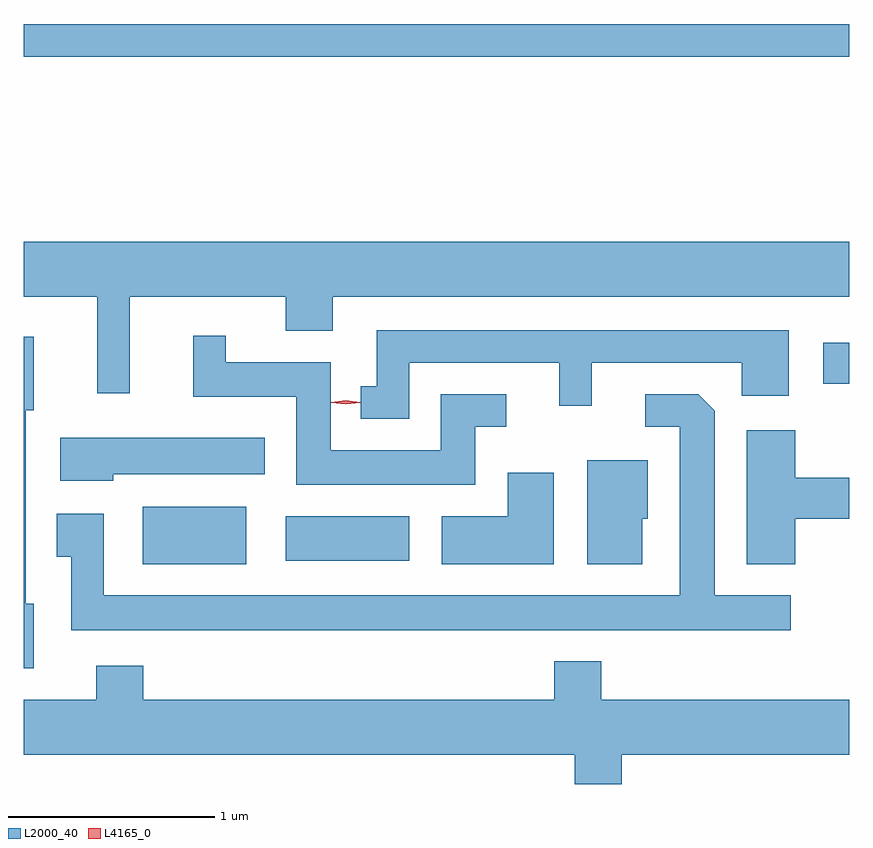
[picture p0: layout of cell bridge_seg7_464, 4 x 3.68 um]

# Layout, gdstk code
import gdstk
lib = gdstk.Library(unit=1e-6, precision=1e-09)
def R(c, l, rs):  # rectangles x0, y0, x1, y1
    for r in rs: c.add(gdstk.rectangle(r[:2], r[2:], *l))
def P(c, l, *ps):  # polygons
    for p in ps: c.add(gdstk.Polygon(p, *l))
L2000_40 = (2000, 40)
L4165_0 = (4165, 0)

bridge_seg7_464 = lib.new_cell('bridge_seg7_464')
R(bridge_seg7_464, L2000_40, [(1441.106,1708.581,1441.609,1708.859), (1441.801,1708.596,1442.399,1708.814), (1444.406,1709.456,1444.531,1709.654), (1440.531,1711.041,1444.531,1711.199)])
P(bridge_seg7_464, L2000_40, [(1441.044,1709.876),(1441.801,1709.876),(1441.801,1709.711),(1442.029,1709.711),(1442.029,1709.876),(1444.531,1709.876),(1444.531,1710.144),(1440.531,1710.144),(1440.531,1709.876),(1440.886,1709.876),(1440.886,1709.408),(1441.044,1709.408)],
  [(1442.399,1709.556),(1443.126,1709.556),(1443.126,1709.348),(1443.284,1709.348),(1443.284,1709.556),(1444.011,1709.556),(1444.011,1709.396),(1444.239,1709.396),(1444.239,1709.714),(1442.241,1709.714),(1442.241,1709.444),(1442.163,1709.444),(1442.163,1709.286),(1442.399,1709.286)],
  [(1442.719,1709.246),(1442.868,1709.246),(1442.868,1709.404),(1442.551,1709.404),(1442.551,1709.134),(1442.019,1709.134),(1442.019,1709.559),(1441.509,1709.559),(1441.509,1709.688),(1441.351,1709.688),(1441.351,1709.391),(1441.851,1709.391),(1441.851,1708.966),(1442.719,1708.966)],
  [(1440.579,1708.389),(1440.539,1708.389),(1440.539,1709.326),(1440.579,1709.326),(1440.579,1709.684),(1440.531,1709.684),(1440.531,1708.076),(1440.579,1708.076)],
  [(1444.248,1708.429),(1443.879,1708.429),(1443.879,1709.324),(1443.799,1709.404),(1443.543,1709.404),(1443.543,1709.246),(1443.711,1709.246),(1443.711,1708.429),(1440.919,1708.429),(1440.919,1708.824),(1440.691,1708.824),(1440.691,1708.616),(1440.761,1708.616),(1440.761,1708.261),(1444.248,1708.261)],
  [(1444.269,1708.801),(1444.531,1708.801),(1444.531,1708.999),(1444.269,1708.999),(1444.269,1709.229),(1444.036,1709.229),(1444.036,1708.581),(1444.269,1708.581)],
  [(1440.964,1709.016),(1441.699,1709.016),(1441.699,1709.194),(1440.706,1709.194),(1440.706,1708.986),(1440.964,1708.986)],
  [(1443.529,1708.801),(1443.554,1708.801),(1443.554,1709.084),(1443.261,1709.084),(1443.261,1708.581),(1443.529,1708.581)],
  [(1443.099,1709.024),(1442.876,1709.024),(1442.876,1708.814),(1442.556,1708.814),(1442.556,1708.581),(1443.099,1708.581)],
  [(1443.429,1707.656),(1444.531,1707.656),(1444.531,1707.924),(1443.329,1707.924),(1443.329,1708.109),(1443.101,1708.109),(1443.101,1707.924),(1441.109,1707.924),(1441.109,1708.089),(1440.881,1708.089),(1440.881,1707.924),(1440.531,1707.924),(1440.531,1707.656),(1443.201,1707.656),(1443.201,1707.515),(1443.429,1707.515)])
P(bridge_seg7_464, L4165_0, [(1442.091,1709.355),(1442.022,1709.364),(1442.022,1709.364),(1442.022,1709.365),(1442.091,1709.374),(1442.161,1709.366),(1442.161,1709.365),(1442.161,1709.364)])

lib.write_gds('bridge_seg7_464.gds')
